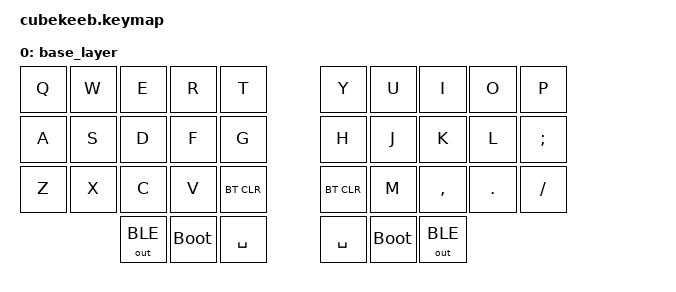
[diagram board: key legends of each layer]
#include <behaviors.dtsi>
#include <dt-bindings/zmk/keys.h>
#include <dt-bindings/zmk/bt.h>
#include <dt-bindings/zmk/outputs.h>

&soft_off {
    hold-time-ms = <5000>;
};

/ {

    keymap {
        compatible = "zmk,keymap";

        // This is a sample keymap intended to be replaced with your own
        base_layer {
            bindings = <
                &kp Q     &kp W     &kp E        &kp R       &kp T      &kp Y      &kp U       &kp I       &kp O   &kp P
                &kp A     &kp S     &kp D        &kp F       &kp G      &kp H      &kp J       &kp K       &kp L   &kp SEMI
                &kp Z     &kp X     &kp C        &kp V       &bt BT_CLR &bt BT_CLR &kp M       &kp COMMA   &kp DOT &kp SLASH
                                    &out OUT_BLE &bootloader &kp SPACE  &kp SPACE  &bootloader &out OUT_BLE
            >;
        };

    };
};
//                                   &out OUT_TOG   &soft_off   &bootloader  &kp SPACE &bootloader &kp ESCAPE
